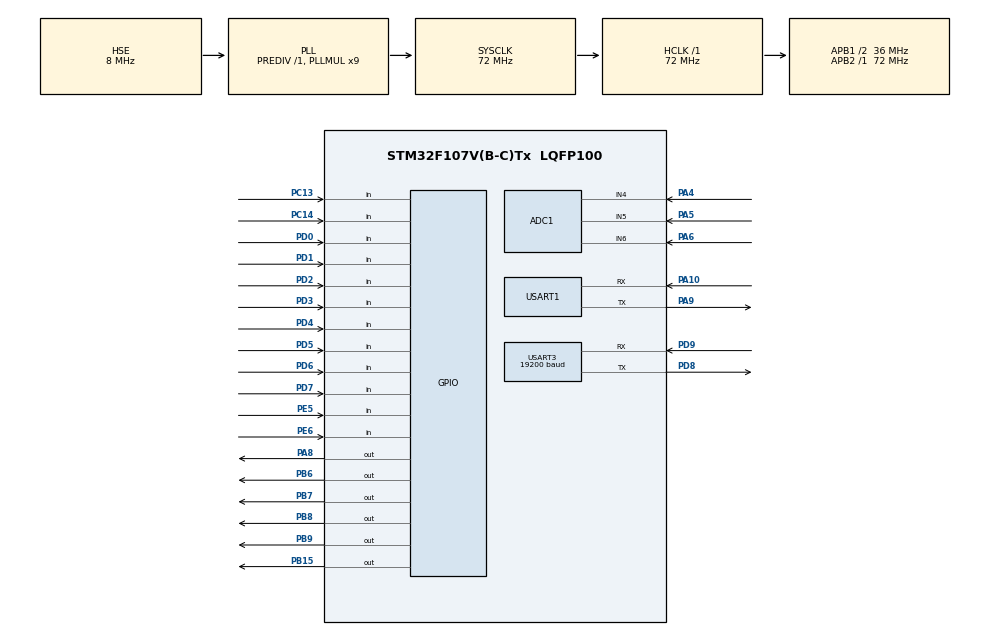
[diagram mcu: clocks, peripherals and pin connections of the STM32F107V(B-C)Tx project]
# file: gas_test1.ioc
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ADC1.Channel-0\#ChannelRegularConversion=ADC_CHANNEL_4
ADC1.Channel-1\#ChannelRegularConversion=ADC_CHANNEL_5
ADC1.Channel-2\#ChannelRegularConversion=ADC_CHANNEL_6
ADC1.NbrOfConversion=3
ADC1.NbrOfConversionFlag=1
ADC1.Rank-0\#ChannelRegularConversion=1
ADC1.Rank-1\#ChannelRegularConversion=2
ADC1.Rank-2\#ChannelRegularConversion=3
ADC1.SamplingTime-0\#ChannelRegularConversion=ADC_SAMPLETIME_239CYCLES_5
ADC1.SamplingTime-1\#ChannelRegularConversion=ADC_SAMPLETIME_239CYCLES_5
ADC1.SamplingTime-2\#ChannelRegularConversion=ADC_SAMPLETIME_239CYCLES_5
ADC1.master=1
Mcu.Family=STM32F1
Mcu.Name=STM32F107V(B-C)Tx
Mcu.Package=LQFP100
NVIC.ADC1_2_IRQn=true\:0\:0\:false\:false\:true\:true\:true\:true
NVIC.PriorityGroup=NVIC_PRIORITYGROUP_4
NVIC.TIM2_IRQn=true\:0\:0\:false\:false\:true\:true\:true\:true
NVIC.USART3_IRQn=true\:0\:0\:false\:false\:true\:true\:true\:true
OSC_IN.Mode=HSE-External-Oscillator
OSC_IN.Signal=RCC_OSC_IN
OSC_OUT.Mode=HSE-External-Oscillator
OSC_OUT.Signal=RCC_OSC_OUT
PA10.GPIO_PuPd=GPIO_PULLUP
PA10.Mode=Asynchronous
PA10.Signal=USART1_RX
PA13.Mode=Serial_Wire
PA13.Signal=SYS_JTMS-SWDIO
PA14.Mode=Serial_Wire
PA14.Signal=SYS_JTCK-SWCLK
PA4.Signal=ADCx_IN4
PA5.Signal=ADCx_IN5
PA6.Signal=ADCx_IN6
PA8.Signal=GPIO_Output
PA9.Mode=Asynchronous
PA9.Signal=USART1_TX
PB15.GPIO_Speed=GPIO_SPEED_FREQ_LOW
PB15.Signal=GPIO_Output
PB6.Signal=GPIO_Output
PB7.Signal=GPIO_Output
PB8.Signal=GPIO_Output
PB9.Signal=GPIO_Output
PC13-TAMPER-RTC.Signal=GPIO_Input
PC14-OSC32_IN.Signal=GPIO_Input
PD0.Signal=GPIO_Input
PD1.Signal=GPIO_Input
PD2.Signal=GPIO_Input
PD3.Signal=GPIO_Input
PD4.Signal=GPIO_Input
PD5.Signal=GPIO_Input
PD6.Signal=GPIO_Input
PD7.Signal=GPIO_Input
PD8.Mode=Asynchronous
PD8.Signal=USART3_TX
PD9.GPIO_PuPd=GPIO_PULLUP
PD9.Mode=Asynchronous
PD9.Signal=USART3_RX
PE5.Signal=GPIO_Input
PE6.Signal=GPIO_Input
ProjectManager.HeapSize=0x200
ProjectManager.StackSize=0x400
ProjectManager.TargetToolchain=STM32CubeIDE
RCC.ADCPresc=RCC_ADCPCLK2_DIV6
RCC.AHBFreq_Value=72000000
RCC.APB1CLKDivider=RCC_HCLK_DIV2
RCC.APB1Freq_Value=36000000
RCC.APB1TimFreq_Value=72000000
RCC.APB2Freq_Value=72000000
RCC.APB2TimFreq_Value=72000000
RCC.HCLKFreq_Value=72000000
RCC.PLLMUL=RCC_PLL_MUL9
RCC.PLLSourceVirtual=RCC_PLLSOURCE_HSE
RCC.SYSCLKFreq_VALUE=72000000
RCC.SYSCLKSource=RCC_SYSCLKSOURCE_PLLCLK
RCC.USBFreq_Value=48000000
SH.ADCx_IN4.0=ADC1_IN4,IN4
SH.ADCx_IN5.0=ADC1_IN5,IN5
SH.ADCx_IN6.0=ADC1_IN6,IN6
TIM2.AutoReloadPreload=TIM_AUTORELOAD_PRELOAD_ENABLE
TIM2.ClockDivision=TIM_CLOCKDIVISION_DIV4
TIM2.CounterMode=TIM_COUNTERMODE_DOWN
TIM2.Period=100
TIM2.Prescaler=7199
USART1.VirtualMode=VM_ASYNC
USART3.BaudRate=19200
USART3.Parity=PARITY_EVEN
USART3.VirtualMode=VM_ASYNC
USART3.WordLength=WORDLENGTH_9B
VP_TIM2_VS_ClockSourceINT.Mode=Internal
board=custom

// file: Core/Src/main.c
/* USER CODE BEGIN Header */
/**
  ******************************************************************************
  * @file           : main.c
  * @brief          : Main program body
  ******************************************************************************
  * @attention
  *
  * Copyright (c) 2025 STMicroelectronics.
  * All rights reserved.
  *
  * This software is licensed under terms that can be found in the LICENSE file
  * in the root directory of this software component.
  * If no LICENSE file comes with this software, it is provided AS-IS.
  *
  ******************************************************************************
  */
/* USER CODE END Header */
#include "main.h"
#include "adc.h"
#include "tim.h"
#include "usart.h"
#include "gpio.h"

/* USER CODE BEGIN Includes */
#include "TS_commu.h"
/* USER CODE END Includes */

void SystemClock_Config(void);

/* USER CODE BEGIN 0 */
uint16_t adcdata1, adcdata2, adcdata3, adcCnt=0;
uint8_t sw2, sw1, sw0;
#include "stm32f1xx_hal_adc.h"

/* USER CODE END 0 */

int main(void)
{

  /* USER CODE BEGIN 1 */
  init_TS_commu();
  /* USER CODE END 1 */

  /* MCU Configuration--------------------------------------------------------*/

  /* Reset of all peripherals, Initializes the Flash interface and the Systick. */
  HAL_Init();

  /* Configure the system clock */
  SystemClock_Config();

  /* Initialize all configured peripherals */
  MX_GPIO_Init();
  MX_ADC1_Init();
  MX_USART1_UART_Init();
  MX_USART3_UART_Init();
  MX_TIM2_Init();
  /* USER CODE BEGIN 2 */
  start_TS_commu();
  HAL_TIM_Base_Start_IT(&htim2);
  /* USER CODE END 2 */

  /* Infinite loop */
  while (1)
  {

    /* USER CODE BEGIN 3 */
	  if(TestFlash) {
		  if(TestFlash == 1) ReadFlash((uint32_t*)&fParam);
		  else if(TestFlash == 3) EraseFlash();
		  else				WriteFlash((uint32_t*)&fParam);
		  TestFlash = 0;
	  }
//	  HAL_ADC_Start_IT(hadc1);
	  ADC_ChannelConfTypeDef sConfig = {0};
	  sConfig.Channel = ADC_CHANNEL_4;
	  sConfig.Rank = ADC_REGULAR_RANK_1;
	  sConfig.SamplingTime = ADC_SAMPLETIME_239CYCLES_5;
	  if (HAL_ADC_ConfigChannel(&hadc1, &sConfig) != HAL_OK)
	  {
	    Error_Handler();
	  }
	  adcCnt++;
	  HAL_ADC_Start(&hadc1);
	  while(HAL_ADC_PollForConversion(&hadc1, 100)!=HAL_OK);
	  adcdata1 = HAL_ADC_GetValue(&hadc1);

	  sConfig.Channel = ADC_CHANNEL_5;
	  if (HAL_ADC_ConfigChannel(&hadc1, &sConfig) != HAL_OK)
	  {
	    Error_Handler();
	  }
	  adcCnt++;
	  HAL_ADC_Start(&hadc1);
	  while(HAL_ADC_PollForConversion(&hadc1, 100)!=HAL_OK);
	  adcdata2 = HAL_ADC_GetValue(&hadc1);

	  sConfig.Channel = ADC_CHANNEL_6;
	  if (HAL_ADC_ConfigChannel(&hadc1, &sConfig) != HAL_OK)
	  {
	    Error_Handler();
	  }
	  adcCnt++;
	  HAL_ADC_Start(&hadc1);
	  while(HAL_ADC_PollForConversion(&hadc1, 100)!=HAL_OK);
	  adcdata3 = HAL_ADC_GetValue(&hadc1);
	  adcCnt+=7;

	  // 4~20mA : 818 ~ 4096
	  //
	  float PT1scale = (float)(PT1.MaxSValue-PT1.MinSValue)/(4096-819);
	  if(adcdata3 > 819) {
		  PT1.Value = (uint16_t)(10 * ((adcdata3 -819) * PT1scale + PT1.MinSValue) + PT1.Offset);
	  } else {
		  // Sensor not connected !!
	  }
	  // PT2
	  float PT2scale = (float)(PT2.MaxSValue - PT2.MinSValue) / (4096 - 819);
	  if (adcdata2 > 819)
	      PT2.Value = (uint16_t)(10 * ((adcdata2 - 819) * PT2scale + PT2.MinSValue) + PT2.Offset);

	  sw0 = HAL_GPIO_ReadPin(GPIOD, GPIO_PIN_4);
	  sw0 |= HAL_GPIO_ReadPin(GPIOD, GPIO_PIN_5) ? 2 : 0;
	  sw0 |= HAL_GPIO_ReadPin(GPIOD, GPIO_PIN_6) ? 4 : 0;
	  sw0 |= HAL_GPIO_ReadPin(GPIOD, GPIO_PIN_7) ? 8 : 0;

	  sw0 |= HAL_GPIO_ReadPin(GPIOD, GPIO_PIN_3) ? 0x10 : 0;
	  sw0 |= HAL_GPIO_ReadPin(GPIOD, GPIO_PIN_1) ? 0x20 : 0;
	  sw0 |= HAL_GPIO_ReadPin(GPIOD, GPIO_PIN_2) ? 0x40 : 0;
	  sw0 |= HAL_GPIO_ReadPin(GPIOD, GPIO_PIN_0) ? 0x80 : 0;
	  sw2 = sw0 & 0x0F;
	  sw1 = (sw0 >> 4) & 0x0F;
  }
  /* USER CODE END 3 */
}

void SystemClock_Config(void)
{
  RCC_OscInitTypeDef RCC_OscInitStruct = {0};
  RCC_ClkInitTypeDef RCC_ClkInitStruct = {0};
  RCC_PeriphCLKInitTypeDef PeriphClkInit = {0};

  /** Initializes the RCC Oscillators according to the specified parameters
  * in the RCC_OscInitTypeDef structure.
  */
  RCC_OscInitStruct.OscillatorType = RCC_OSCILLATORTYPE_HSE;
  RCC_OscInitStruct.HSEState = RCC_HSE_ON;
  RCC_OscInitStruct.HSEPredivValue = RCC_HSE_PREDIV_DIV1;
  RCC_OscInitStruct.HSIState = RCC_HSI_ON;
  RCC_OscInitStruct.Prediv1Source = RCC_PREDIV1_SOURCE_HSE;
  RCC_OscInitStruct.PLL.PLLState = RCC_PLL_ON;
  RCC_OscInitStruct.PLL.PLLSource = RCC_PLLSOURCE_HSE;
  RCC_OscInitStruct.PLL.PLLMUL = RCC_PLL_MUL9;
  RCC_OscInitStruct.PLL2.PLL2State = RCC_PLL_NONE;
  if (HAL_RCC_OscConfig(&RCC_OscInitStruct) != HAL_OK)
  {
    Error_Handler();
  }

  /** Initializes the CPU, AHB and APB buses clocks
  */
  RCC_ClkInitStruct.ClockType = RCC_CLOCKTYPE_HCLK|RCC_CLOCKTYPE_SYSCLK
                              |RCC_CLOCKTYPE_PCLK1|RCC_CLOCKTYPE_PCLK2;
  RCC_ClkInitStruct.SYSCLKSource = RCC_SYSCLKSOURCE_PLLCLK;
  RCC_ClkInitStruct.AHBCLKDivider = RCC_SYSCLK_DIV1;
  RCC_ClkInitStruct.APB1CLKDivider = RCC_HCLK_DIV2;
  RCC_ClkInitStruct.APB2CLKDivider = RCC_HCLK_DIV1;

  if (HAL_RCC_ClockConfig(&RCC_ClkInitStruct, FLASH_LATENCY_2) != HAL_OK)
  {
    Error_Handler();
  }
  PeriphClkInit.PeriphClockSelection = RCC_PERIPHCLK_ADC;
  PeriphClkInit.AdcClockSelection = RCC_ADCPCLK2_DIV6;
  if (HAL_RCCEx_PeriphCLKConfig(&PeriphClkInit) != HAL_OK)
  {
    Error_Handler();
  }

  /** Configure the Systick interrupt time
  */
  __HAL_RCC_PLLI2S_ENABLE();
}

/* USER CODE BEGIN 4 */
void HAL_TIM_PeriodElapsedCallback(TIM_HandleTypeDef *htim) {
    if (htim->Instance == TIM2) {
        process_tim2_interrupt();
    }
}
/* USER CODE END 4 */

void Error_Handler(void)
{
  __disable_irq();
  while (1)
  {
  }
}
